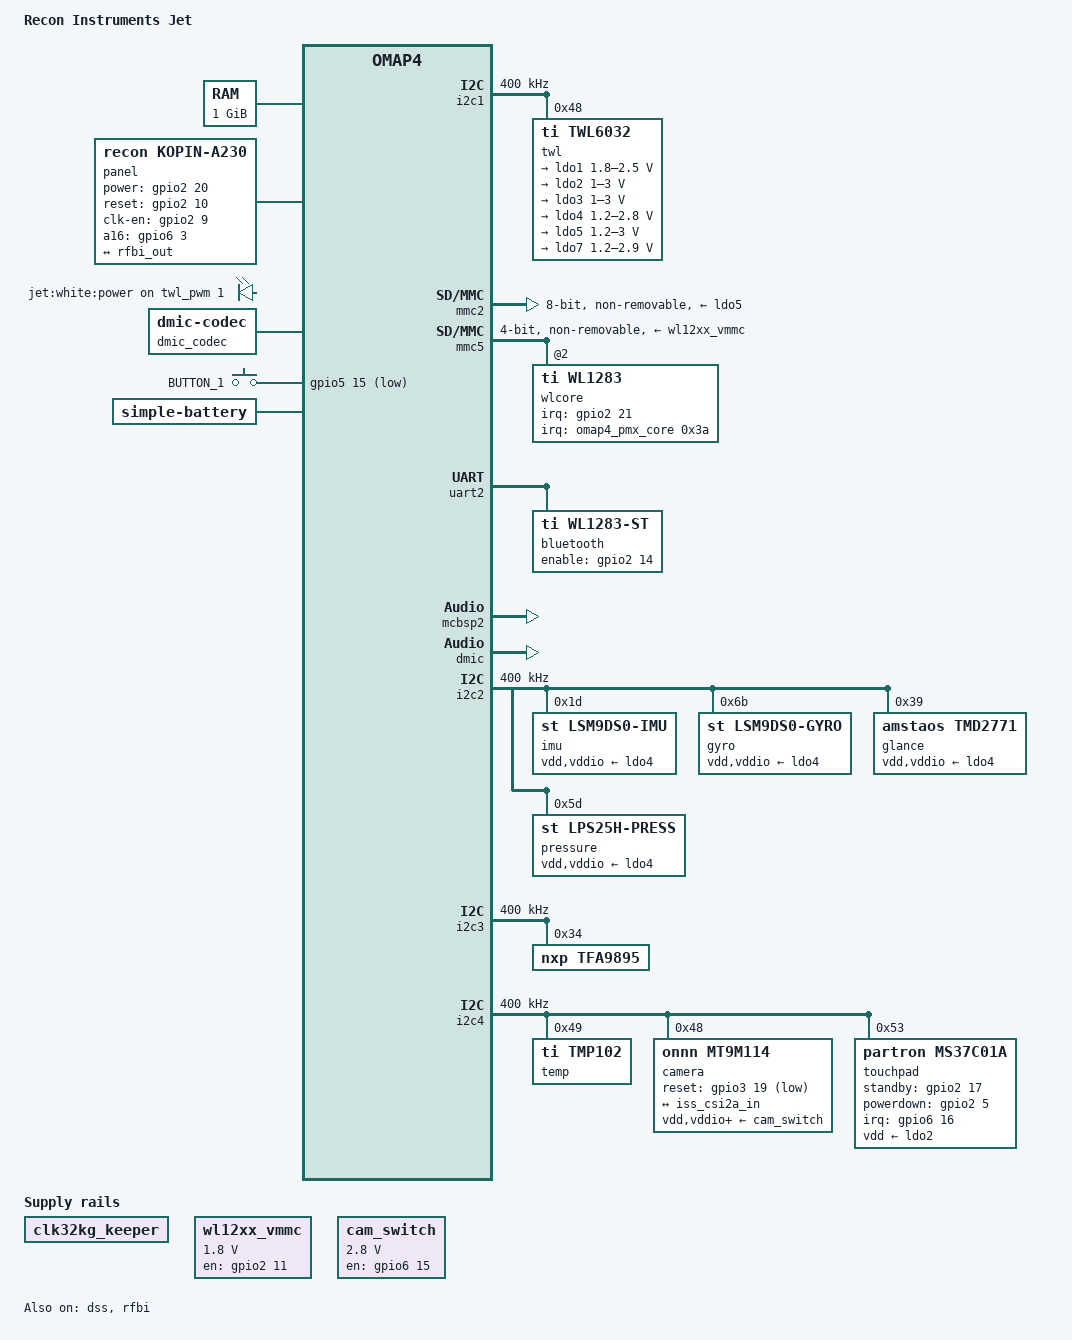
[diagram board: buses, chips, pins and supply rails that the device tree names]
// SPDX-License-Identifier: GPL-2.0-only
/*
 * Recon Instruments Jet (OMAP4430 ES2.3 GP, TWL6032) — milestone 1 device tree.
 * Wiring taken from the ReconOS 3.0 kernel board files (board-4430jet.c,
 * board-44xx-power.c) and the x-loader pinmux table. Display, camera, WiFi,
 * audio and sensors are left out on purpose for the first boot.
 */
/dts-v1/;

#include <dt-bindings/input/input.h>
#include <dt-bindings/gpio/gpio.h>
#include "omap443x.dtsi"

/ {
	model = "Recon Instruments Jet";
	compatible = "recon,jet", "ti,omap4430", "ti,omap4";

	memory@80000000 {
		device_type = "memory";
		reg = <0x80000000 0x40000000>; /* 1 GiB */
	};

	chosen {
		/* panic=5: reboot into fastboot/stock instead of hanging; early_enable: arm the
		 * hardware watchdog at driver probe so a hang before init still resets */
		bootargs = "loglevel=8 ignore_loglevel panic=5 omap_wdt.early_enable=1";
	};

	/* crash/console log that survives a reset (read back from /sys/fs/pstore) */
	reserved-memory {
		#address-cells = <1>;
		#size-cells = <1>;
		ranges;

		/* u-boot's ATAG memory ends at 0xbe2e1000 (1,018,180 kB), keep this below it */
		ramoops@bd000000 {
			compatible = "ramoops";
			reg = <0xbd000000 0x100000>;
			record-size = <0x8000>;
			console-size = <0x80000>;
			pmsg-size = <0x8000>;
			ftrace-size = <0>;
		};
	};

	/* Kopin A230 microdisplay on the RFBI (MIPI DBI) bus. GPIOs from the stock board file:
	 * power = gpio 52 (gpmc_ncs2), reset = gpio 42 (gpmc_a18), clk-en = gpio 41 (gpmc_a17),
	 * a16 = gpio 163 (usbb2_ulpitll_dat2). Pixel clock = auxclk4 (fref_clk4_out) at 36.57 MHz (256 MHz / 7, from the stock registers). */
	panel: panel {
		compatible = "recon,kopin-a230";
		pinctrl-names = "default";
		pinctrl-0 = <&kopin_gpio_pins>, <&kopin_clk_pins>;
		power-gpios = <&gpio2 20 GPIO_ACTIVE_HIGH>;
		reset-gpios = <&gpio2 10 GPIO_ACTIVE_HIGH>;
		clk-en-gpios = <&gpio2 9 GPIO_ACTIVE_HIGH>;
		a16-gpios = <&gpio6 3 GPIO_ACTIVE_HIGH>;
		/* stock: dpll_per m3x2 = 256 MHz, auxclk4 = 256/7 = 36.57 MHz. The driver sets the
		 * rate itself (assigned-clocks on these made the probe defer forever). */
		clocks = <&auxclk4_ck>, <&auxclk4_src_ck>, <&dpll_per_m3x2_ck>;
		clock-names = "pixel", "pixel_src", "per_m3";

		port {
			kopin_in: endpoint {
				remote-endpoint = <&rfbi_out>;
			};
		};
	};

	/* BUTTON_1 on the pod: uart3_rx_irrx pad as gpio_143 (gpio5 line 15), idle high,
	 * stock jet-keys reported KEY_102ND (86) on a short click */
	/* power-button LED: TWL6032 PWM2 (stock u-boot/kernel: PWM2ON 0x60, PWM2OFF 0x7f, TOGGLE3
	 * clock+signal enable). twl6030.dtsi's twl_pwm id 1 = PWM2; polarity checked by eye. */
	pwmleds {
		compatible = "pwm-leds";
		led-power {
			label = "jet:white:power";
			pwms = <&twl_pwm 1 7812500>;
			max-brightness = <127>;
			default-state = "keep";
		};
	};

	dmic_codec: dmic-codec {
		compatible = "dmic-codec";
		#sound-dai-cells = <0>;
		num-channels = <2>;
	};

	sound {
		compatible = "simple-audio-card";
		simple-audio-card,name = "Jet";
		#address-cells = <1>;
		#size-cells = <0>;
		simple-audio-card,dai-link@0 {		/* speaker: McBSP2 I2S master -> TFA9895 */
			reg = <0>;
			format = "i2s";
			bitclock-master = <&jet_cpu_dai>;
			frame-master = <&jet_cpu_dai>;
			jet_cpu_dai: cpu {
				sound-dai = <&mcbsp2>;
			};
			codec {
				sound-dai = <&tfa9895>;
			};
		};
		simple-audio-card,dai-link@1 {		/* mics: OMAP4 DMIC -> generic dmic codec */
			reg = <1>;
			cpu {
				sound-dai = <&dmic>;
			};
			codec {
				sound-dai = <&dmic_codec>;
			};
		};
	};

	gpio-keys {
		compatible = "gpio-keys";
		pinctrl-names = "default";
		pinctrl-0 = <&button_pins>;
		button-1 {
			label = "BUTTON_1";
			gpios = <&gpio5 15 GPIO_ACTIVE_LOW>;
			linux,code = <KEY_102ND>;
			debounce-interval = <50>;
			wakeup-source;
		};
	};

	/* the pack rg fitted: a generic 3.7 V 500 mAh cell on the Recon protection board */
	battery: battery {
		compatible = "simple-battery";
		device-chemistry = "lithium-ion";
		charge-full-design-microamp-hours = <500000>;
		voltage-max-design-microvolt = <4200000>;
		voltage-min-design-microvolt = <3300000>;
		constant-charge-voltage-max-microvolt = <4200000>;
		constant-charge-current-max-microamp = <400000>;
		charge-term-current-microamp = <50000>;
	};

	/* The WL1283 needs the PMIC's CLK32KG 32 kHz output (CFG_STATE 0x48:0xBE); after a real
	 * power-on it is off and SDIO init fails ("Failed to initialize a non-removable card"), every
	 * earlier run inherited Android's setting. Keep it on from boot. */
	clk32kg_keeper: regulator-clk32kg {
		compatible = "regulator-fixed-clock";
		regulator-name = "clk32kg";
		clocks = <&twl 0>;
		regulator-always-on;
		regulator-boot-on;
	};

	/* WL128x power: GPIO43 (gpmc_a19) = gpio2 line 11 */
	wl12xx_vmmc: regulator-wl12xx {
		pinctrl-names = "default";
		pinctrl-0 = <&wl12xx_gpio>;
		compatible = "regulator-fixed";
		regulator-name = "vwl1271";
		regulator-min-microvolt = <1800000>;
		regulator-max-microvolt = <1800000>;
		gpio = <&gpio2 11 GPIO_ACTIVE_HIGH>;
		startup-delay-us = <70000>;
		enable-active-high;
	};
};

&omap4_pmx_wkup {
	kopin_clk_pins: pinmux-kopin-clk-pins {
		pinctrl-single,pins = <
			OMAP4_IOPAD(0x05c, PIN_OUTPUT | MUX_MODE0)	/* fref_clk4_out (36.57 MHz to the Kopin), wkup domain */
		>;
	};
};

&omap4_pmx_core {
	wl12xx_gpio: wl12xx-gpio-pins {
		pinctrl-single,pins = <
			OMAP4_IOPAD(0x066, PIN_OUTPUT | MUX_MODE3)		/* gpmc_a19.gpio_43 - WLAN_EN */
		>;
	};

	uart2_pins: uart2-pins {		/* WL1283 BT HCI (stock: ttyO1 = uart2, 3.6864 Mbaud, flow control) */
		pinctrl-single,pins = <
			OMAP4_IOPAD(0x118, PIN_INPUT_PULLUP | MUX_MODE0)	/* uart2_cts */
			OMAP4_IOPAD(0x11a, PIN_OUTPUT | MUX_MODE0)		/* uart2_rts */
			OMAP4_IOPAD(0x11c, PIN_INPUT_PULLUP | MUX_MODE0)	/* uart2_rx */
			OMAP4_IOPAD(0x11e, PIN_OUTPUT | MUX_MODE0)		/* uart2_tx */
		>;
	};

	bt_pins: bt-pins {
		pinctrl-single,pins = <
			OMAP4_IOPAD(0x06c, PIN_OUTPUT | MUX_MODE3)		/* gpmc_a22.gpio_46 - BT_EN */
		>;
	};

	dmic_pins: dmic-pins {			/* digital mics: DMIC block clock out + din1 (stock ABE route DMic0L/R) */
		pinctrl-single,pins = <
			OMAP4_IOPAD(0x110, PIN_OUTPUT | MUX_MODE0)		/* abe_dmic_clk1 */
			OMAP4_IOPAD(0x112, PIN_INPUT | MUX_MODE0)		/* abe_dmic_din1 */
		>;
	};

	mcbsp2_pins: mcbsp2-pins {		/* I2S to the TFA9895 speaker amp (stock jet V2 mux) */
		pinctrl-single,pins = <
			OMAP4_IOPAD(0x0f6, PIN_OUTPUT | MUX_MODE0)		/* abe_mcbsp2_clkx */
			OMAP4_IOPAD(0x0f8, PIN_INPUT | MUX_MODE0)		/* abe_mcbsp2_dr */
			OMAP4_IOPAD(0x0fa, PIN_OUTPUT | MUX_MODE0)		/* abe_mcbsp2_dx */
			OMAP4_IOPAD(0x0fc, PIN_OUTPUT | MUX_MODE0)		/* abe_mcbsp2_fsx */
		>;
	};

	wl12xx_pins: wl12xx-pins {
		pinctrl-single,pins = <
			OMAP4_IOPAD(0x07a, PIN_INPUT | MUX_MODE3)		/* gpmc_ncs3.gpio_53 - WLAN_IRQ */
			OMAP4_IOPAD(0x148, PIN_INPUT_PULLUP | MUX_MODE0)	/* sdmmc5_clk */
			OMAP4_IOPAD(0x14a, PIN_INPUT_PULLUP | MUX_MODE0)	/* sdmmc5_cmd */
			OMAP4_IOPAD(0x14c, PIN_INPUT_PULLUP | MUX_MODE0)	/* sdmmc5_dat0 */
			OMAP4_IOPAD(0x14e, PIN_INPUT_PULLUP | MUX_MODE0)	/* sdmmc5_dat1 */
			OMAP4_IOPAD(0x150, PIN_INPUT_PULLUP | MUX_MODE0)	/* sdmmc5_dat2 */
			OMAP4_IOPAD(0x152, PIN_INPUT_PULLUP | MUX_MODE0)	/* sdmmc5_dat3 */
		>;
	};

	i2c1_pins: pinmux-i2c1-pins {
		pinctrl-single,pins = <
			OMAP4_IOPAD(0x122, PIN_INPUT_PULLUP | MUX_MODE0)	/* i2c1_scl */
			OMAP4_IOPAD(0x124, PIN_INPUT_PULLUP | MUX_MODE0)	/* i2c1_sda */
		>;
	};

	/* eMMC on MMC2: gpmc_ad0..7 / gpmc_noe / gpmc_nwe in mode 1 (from x-loader) */
	mmc2_pins: pinmux-mmc2-pins {
		pinctrl-single,pins = <
			OMAP4_IOPAD(0x040, PIN_INPUT_PULLUP | MUX_MODE1)	/* sdmmc2_dat0 */
			OMAP4_IOPAD(0x042, PIN_INPUT_PULLUP | MUX_MODE1)	/* sdmmc2_dat1 */
			OMAP4_IOPAD(0x044, PIN_INPUT_PULLUP | MUX_MODE1)	/* sdmmc2_dat2 */
			OMAP4_IOPAD(0x046, PIN_INPUT_PULLUP | MUX_MODE1)	/* sdmmc2_dat3 */
			OMAP4_IOPAD(0x048, PIN_INPUT_PULLUP | MUX_MODE1)	/* sdmmc2_dat4 */
			OMAP4_IOPAD(0x04a, PIN_INPUT_PULLUP | MUX_MODE1)	/* sdmmc2_dat5 */
			OMAP4_IOPAD(0x04c, PIN_INPUT_PULLUP | MUX_MODE1)	/* sdmmc2_dat6 */
			OMAP4_IOPAD(0x04e, PIN_INPUT_PULLUP | MUX_MODE1)	/* sdmmc2_dat7 */
			OMAP4_IOPAD(0x082, PIN_INPUT_PULLUP | MUX_MODE1)	/* sdmmc2_clk */
			OMAP4_IOPAD(0x084, PIN_INPUT_PULLUP | MUX_MODE1)	/* sdmmc2_cmd */
		>;
	};

	/* RFBI bus, values read back from the stock kernel's omap_mux debugfs (2026-10-17):
	 * data/control pads are bidirectional (input buffer enabled), dpm_emu6 is gpio_17 */
	rfbi_pins: pinmux-rfbi-pins {
		pinctrl-single,pins = <
			OMAP4_IOPAD(0x1b4, PIN_INPUT | MUX_MODE4)	/* dpm_emu3.rfbi_data10 */
			OMAP4_IOPAD(0x1b6, PIN_INPUT | MUX_MODE4)	/* dpm_emu4.rfbi_data9 */
			OMAP4_IOPAD(0x1b8, PIN_INPUT | MUX_MODE4)	/* dpm_emu5.rfbi_te_vsync0 */
			OMAP4_IOPAD(0x1ba, PIN_OUTPUT | MUX_MODE3)	/* dpm_emu6.gpio_17 (stock, not hsync) */
			OMAP4_IOPAD(0x1bc, PIN_INPUT | MUX_MODE4)	/* dpm_emu7.rfbi_cs0 */
			OMAP4_IOPAD(0x1be, PIN_INPUT | MUX_MODE4)	/* dpm_emu8.rfbi_re */
			OMAP4_IOPAD(0x1c0, PIN_INPUT | MUX_MODE4)	/* dpm_emu9.rfbi_we */
			OMAP4_IOPAD(0x1c2, PIN_INPUT | MUX_MODE4)	/* dpm_emu10.rfbi_a0 */
			OMAP4_IOPAD(0x1c4, PIN_INPUT | MUX_MODE4)	/* dpm_emu11.rfbi_data8 */
			OMAP4_IOPAD(0x1c6, PIN_INPUT | MUX_MODE4)	/* dpm_emu12.rfbi_data7 */
			OMAP4_IOPAD(0x1c8, PIN_INPUT | MUX_MODE4)	/* dpm_emu13.rfbi_data6 */
			OMAP4_IOPAD(0x1ca, PIN_INPUT | MUX_MODE4)	/* dpm_emu14.rfbi_data5 */
			OMAP4_IOPAD(0x1cc, PIN_INPUT | MUX_MODE4)	/* dpm_emu15.rfbi_data4 */
			OMAP4_IOPAD(0x1ce, PIN_INPUT | MUX_MODE4)	/* dpm_emu16.rfbi_data3 */
			OMAP4_IOPAD(0x1d0, PIN_INPUT | MUX_MODE4)	/* dpm_emu17.rfbi_data2 */
			OMAP4_IOPAD(0x1d2, PIN_INPUT | MUX_MODE4)	/* dpm_emu18.rfbi_data1 */
			OMAP4_IOPAD(0x1d4, PIN_INPUT | MUX_MODE4)	/* dpm_emu19.rfbi_data0 */
			OMAP4_IOPAD(0x16e, PIN_INPUT | MUX_MODE6)	/* usbb2_ulpitll_dat3.rfbi_data15 */
			OMAP4_IOPAD(0x170, PIN_INPUT | MUX_MODE6)	/* usbb2_ulpitll_dat4.rfbi_data14 */
			OMAP4_IOPAD(0x172, PIN_INPUT | MUX_MODE6)	/* usbb2_ulpitll_dat5.rfbi_data13 */
			OMAP4_IOPAD(0x174, PIN_INPUT | MUX_MODE6)	/* usbb2_ulpitll_dat6.rfbi_data12 */
			OMAP4_IOPAD(0x176, PIN_INPUT | MUX_MODE6)	/* usbb2_ulpitll_dat7.rfbi_data11 */
		>;
	};

	kopin_gpio_pins: pinmux-kopin-gpio-pins {
		pinctrl-single,pins = <
			OMAP4_IOPAD(0x062, PIN_OUTPUT | MUX_MODE3)	/* gpmc_a17.gpio_41 CLK_TV_EN */
			OMAP4_IOPAD(0x064, PIN_OUTPUT | MUX_MODE3)	/* gpmc_a18.gpio_42 DISP_RES */
			OMAP4_IOPAD(0x078, PIN_OUTPUT | MUX_MODE3)	/* gpmc_ncs2.gpio_52 POWER_ENABLE */
			OMAP4_IOPAD(0x16c, PIN_OUTPUT | MUX_MODE3)	/* usbb2_ulpitll_dat2.gpio_163 RFBI_A16 */
		>;
	};

	button_pins: pinmux-button-pins {
		pinctrl-single,pins = <
			OMAP4_IOPAD(0x144, PIN_INPUT_PULLUP | MUX_MODE3)	/* uart3_rx_irrx.gpio_143 BUTTON_1 */
		>;
	};

	i2c2_pins: pinmux-i2c2-pins {
		pinctrl-single,pins = <
			OMAP4_IOPAD(0x126, PIN_INPUT_PULLUP | MUX_MODE0)	/* i2c2_scl */
			OMAP4_IOPAD(0x128, PIN_INPUT_PULLUP | MUX_MODE0)	/* i2c2_sda */
		>;
	};

	i2c3_pins: pinmux-i2c3-pins {
		pinctrl-single,pins = <
			OMAP4_IOPAD(0x12a, PIN_INPUT_PULLUP | MUX_MODE0)	/* i2c3_scl */
			OMAP4_IOPAD(0x12c, PIN_INPUT_PULLUP | MUX_MODE0)	/* i2c3_sda */
		>;
	};

	/* Partron OFM touchpad: MOTION gpio_176 (kpd_row4), STANDBY gpio_49 (gpmc_a25), POWERDOWN gpio_37 (gpmc_ad13) */
	ofm_pins: pinmux-ofm-pins {
		pinctrl-single,pins = <
			OMAP4_IOPAD(0x18a, PIN_INPUT_PULLDOWN | MUX_MODE3)	/* kpd_row4.gpio_176 MOTION */
			OMAP4_IOPAD(0x072, PIN_OUTPUT | MUX_MODE3)		/* gpmc_a25.gpio_49 STANDBY */
			OMAP4_IOPAD(0x05a, PIN_OUTPUT | MUX_MODE3)		/* gpmc_ad13.gpio_37 POWERDOWN */
		>;
	};

	/* camera: MT9M114 on CSI-2 port A (csi21 dx0/dy0 = clock, dx1/dy1 = data 1), MCLK on fref_clk1_out.
	 * Pull-ups on the lanes so an unpowered sensor reads as LP-11 (the CSI-2 complex IO reset needs it;
	 * the bootloader had them on dx2/dy2).
	 * reset gpio_83 (cam_globalreset pad), power switch gpio_175 (kpd_row3) */
	cam_pins: pinmux-cam-pins {
		pinctrl-single,pins = <
			OMAP4_IOPAD(0x0a0, PIN_INPUT_PULLUP | MUX_MODE0)	/* csi21_dx0 */
			OMAP4_IOPAD(0x0a2, PIN_INPUT_PULLUP | MUX_MODE0)	/* csi21_dy0 */
			OMAP4_IOPAD(0x0a4, PIN_INPUT_PULLUP | MUX_MODE0)	/* csi21_dx1 */
			OMAP4_IOPAD(0x0a6, PIN_INPUT_PULLUP | MUX_MODE0)	/* csi21_dy1 */
			OMAP4_IOPAD(0x0a8, PIN_INPUT_PULLUP | MUX_MODE0)	/* csi21_dx2 (bootloader had these two muxed, so the module may use them) */
			OMAP4_IOPAD(0x0aa, PIN_INPUT_PULLUP | MUX_MODE0)	/* csi21_dy2 */
			OMAP4_IOPAD(0x0c0, PIN_OUTPUT | MUX_MODE3)	/* cam_globalreset.gpio_83 */
			OMAP4_IOPAD(0x19a, PIN_OUTPUT | MUX_MODE0)	/* fref_clk1_out (camera MCLK) */
			OMAP4_IOPAD(0x188, PIN_OUTPUT | MUX_MODE3)	/* kpd_row3.gpio_175 SW_CAM_ON */
		>;
	};

	i2c4_pins: pinmux-i2c4-pins {
		pinctrl-single,pins = <
			OMAP4_IOPAD(0x12e, PIN_INPUT_PULLUP | MUX_MODE0)	/* i2c4_scl */
			OMAP4_IOPAD(0x130, PIN_INPUT_PULLUP | MUX_MODE0)	/* i2c4_sda */
		>;
	};

	usb_otg_hs_pins: pinmux-usb-otg-hs-pins {
		pinctrl-single,pins = <
			OMAP4_IOPAD(0x194, PIN_OUTPUT_PULLDOWN | MUX_MODE0)	/* usba0_otg_ce */
			OMAP4_IOPAD(0x196, PIN_INPUT | MUX_MODE0)		/* usba0_otg_dp */
			OMAP4_IOPAD(0x198, PIN_INPUT | MUX_MODE0)		/* usba0_otg_dm */
		>;
	};
};

&i2c1 {
	pinctrl-names = "default";
	pinctrl-0 = <&i2c1_pins>;
	clock-frequency = <400000>;

	twl: pmic@48 {
		compatible = "ti,twl6032";
		reg = <0x48>;
		#clock-cells = <1>;
		interrupts = <GIC_SPI 7 IRQ_TYPE_LEVEL_HIGH>; /* IRQ_SYS_1N cascaded to gic */
		interrupt-controller;
		#interrupt-cells = <1>;
		system-power-controller;

		/* rear pod button = PMIC PWRON: short press is the BACK/UP nav key in the stock UI
		 * (reported as KEY_END 107 there), long press is power. kernel/patches adds 6030 support. */
		pwrbutton {
			compatible = "ti,twl4030-pwrbutton";
			interrupts = <0>;
			linux,code = <KEY_END>;
		};

		charger {
			compatible = "ti,twl6032-charger", "ti,twl6030-charger";
			interrupts = <2>, <5>;
			io-channels = <&gpadc 10>;
			io-channel-names = "vusb";
			monitored-battery = <&battery>;
		};

		rtc {
			compatible = "ti,twl4030-rtc";
			interrupts = <11>;
		};

		/* names follow the ReconOS board file: ldo1=vpp ldo2=vaux1 ldo3=vaux3 ldo4=vaux2
		 * ldo5=vmmc(eMMC) ldo6=vcxio ldo7=vusim ldoln=vdac ldousb=vusb */
		ldo1: regulator-ldo1 {
			compatible = "ti,twl6032-ldo1";
			regulator-min-microvolt = <1800000>;
			regulator-max-microvolt = <2500000>;
		};

		ldo2: regulator-ldo2 {
			compatible = "ti,twl6032-ldo2";
			regulator-always-on;
			regulator-boot-on;
			regulator-min-microvolt = <1000000>;
			regulator-max-microvolt = <3000000>;
		};

		ldo3: regulator-ldo3 {
			compatible = "ti,twl6032-ldo3";
			regulator-always-on;
			regulator-boot-on;
			regulator-min-microvolt = <1000000>;
			regulator-max-microvolt = <3000000>;
		};

		ldo4: regulator-ldo4 {
			compatible = "ti,twl6032-ldo4";
			regulator-always-on;
			regulator-boot-on;
			regulator-min-microvolt = <1200000>;
			regulator-max-microvolt = <2800000>;
		};

		ldo5: regulator-ldo5 {
			compatible = "ti,twl6032-ldo5";
			regulator-min-microvolt = <1200000>;
			regulator-max-microvolt = <3000000>;
			regulator-always-on;	/* eMMC */
			ti,retain-on-reset;
		};

		ldo6: regulator-ldo6 {
			compatible = "ti,twl6032-ldo6";
			regulator-always-on;
		};

		ldo7: regulator-ldo7 {
			compatible = "ti,twl6032-ldo7";
			regulator-min-microvolt = <1200000>;
			regulator-max-microvolt = <2900000>;
		};

		ldoln: regulator-ldoln {
			compatible = "ti,twl6032-ldoln";
			regulator-always-on;
		};

		ldousb: regulator-ldousb {
			compatible = "ti,twl6032-ldousb";
			regulator-always-on;
		};

		vio: regulator-vio {
			compatible = "ti,twl6032-vio";
			regulator-always-on;
		};

		twl_usb_comparator: usb-comparator {
			compatible = "ti,twl6030-usb";
			interrupts = <4>, <10>;
		};

		twl_pwm: pwm {
			compatible = "ti,twl6030-pwm";
			#pwm-cells = <2>;
		};

		twl_pwmled: pwmled {
			compatible = "ti,twl6030-pwmled";
			#pwm-cells = <2>;
		};

		gpadc: gpadc {
			compatible = "ti,twl6032-gpadc";
			interrupts = <3>;
			#io-channel-cells = <1>;
		};
	};
};

#include "twl6030_omap4.dtsi"

&twl_usb_comparator {
	usb-supply = <&ldousb>;
};

&mmc1 {
	status = "disabled";	/* sdmmc1 pads are in safe mode on the Jet */
};

&mmc2 {
	pinctrl-names = "default";
	pinctrl-0 = <&mmc2_pins>;
	vmmc-supply = <&ldo5>;
	bus-width = <8>;
	non-removable;
	no-sd;
	no-sdio;
};

&mmc3 {
	status = "disabled";
};

&mmc4 {
	status = "disabled";
};

&mmc5 {
	/* WL128x SDIO. Stock board file: ref clock 26 MHz, tcxo 26 MHz, IRQ gpio_53, EN gpio_43 */
	pinctrl-names = "default";
	pinctrl-0 = <&wl12xx_pins>;
	vmmc-supply = <&wl12xx_vmmc>;
	interrupts-extended = <&wakeupgen GIC_SPI 59 IRQ_TYPE_LEVEL_HIGH
			       &omap4_pmx_core 0x10e>;
	non-removable;
	bus-width = <4>;
	cap-power-off-card;
	status = "okay";

	#address-cells = <1>;
	#size-cells = <0>;
	wlcore: wlcore@2 {
		compatible = "ti,wl1283";
		reg = <2>;
		interrupts-extended = <&gpio2 21 IRQ_TYPE_LEVEL_HIGH>,
				      <&omap4_pmx_core 0x3a>;
		interrupt-names = "irq", "wakeup";
		ref-clock-frequency = <26000000>;
		tcxo-clock-frequency = <26000000>;
	};
};

&uart2 {
	pinctrl-names = "default";
	pinctrl-0 = <&uart2_pins>;
	interrupts-extended = <&wakeupgen GIC_SPI 73 IRQ_TYPE_LEVEL_HIGH
			       &omap4_pmx_core OMAP4_UART2_RX>;

	bluetooth {
		compatible = "ti,wl1283-st";
		pinctrl-names = "default";
		pinctrl-0 = <&bt_pins>;
		enable-gpios = <&gpio2 14 GPIO_ACTIVE_HIGH>;	/* GPIO_46 */
		clocks = <&twl 0>;
		clock-names = "ext_clock";
	};
};

&mcbsp2 {
	pinctrl-names = "default";
	pinctrl-0 = <&mcbsp2_pins>;
	#sound-dai-cells = <0>;
	status = "okay";
};

/* stock during tinycap: DMIC clkctrl 0x01000002 (fclk = pad_clks, i.e. fref_clk2_out 19.2 MHz looped
 * back on the abe_clks pad), mic clock generated by the DMIC block. Mainline just uses the block's own
 * fclk (abe_24m / sys clk, same crystal); no AUXCLK2 needed. */
&dmic {
	pinctrl-names = "default";
	pinctrl-0 = <&dmic_pins>;
	#sound-dai-cells = <0>;
	status = "okay";
};

&uart3 {
	status = "disabled";	/* uart3_rx pad is BUTTON_1; no console wired out */
};

/* sensor buses (stock board-jet-sensors.c): i2c2 = LSM9DS0 (0x1d or 0x1e / gyro 0x6a or 0x6b
 * depending on the board revision) + LPS25H 0x5d + APDS9900 0x39 (no mainline driver);
 * i2c3 = MFi 0x11 + TFA98xx amp 0x34; i2c4 = TMP102 0x49 + Partron OFM touchpad 0x53 + MT9M114 0x48 */
&i2c2 {
	pinctrl-names = "default";
	pinctrl-0 = <&i2c2_pins>;
	clock-frequency = <400000>;
	status = "okay";

	/* probed 2026-10-17: accel/mag at 0x1d, gyro at 0x6b (so this is a JET_V2 board) */
	imu@1d {
		compatible = "st,lsm9ds0-imu";
		reg = <0x1d>;
		vdd-supply = <&ldo4>;
		vddio-supply = <&ldo4>;
	};
	gyro@6b {
		compatible = "st,lsm9ds0-gyro";
		reg = <0x6b>;
		vdd-supply = <&ldo4>;
		vddio-supply = <&ldo4>;
	};

	/* glance sensor: Avago APDS9900 ALS+proximity (ID 0x29). Mainline's tsl2772 driver accepts it
	 * as a tmd2771 (same register family, 0x2x ID); IIO in_proximity0_raw ~800 idle. Stock wired its
	 * INT to gpio 56; polled for now. */
	glance: proximity@39 {
		compatible = "amstaos,tmd2771";
		reg = <0x39>;
		led-max-microamp = <25000>;	/* 100 mA default saturated (1023) looking away; less IR, less glare */
		vdd-supply = <&ldo4>;
		vddio-supply = <&ldo4>;
	};
	pressure@5d {
		compatible = "st,lps25h-press";
		reg = <0x5d>;
		vdd-supply = <&ldo4>;
		vddio-supply = <&ldo4>;
	};
};

&i2c3 {
	pinctrl-names = "default";
	pinctrl-0 = <&i2c3_pins>;
	clock-frequency = <400000>;
	status = "okay";

	/* speaker amp: NXP TFA9895 (revision reg 0x03 = 0x12). Mainline tfa989x drives it as a plain
	 * I2S codec without the DSP tuning Android loaded with NXP's climax tool. */
	tfa9895: amplifier@34 {
		compatible = "nxp,tfa9895";
		reg = <0x34>;
		#sound-dai-cells = <0>;
	};
};

/ {
	cam_switch: regulator-cam-switch {
		compatible = "regulator-fixed";
		regulator-name = "cam_switch";
		regulator-min-microvolt = <2800000>;
		regulator-max-microvolt = <2800000>;
		gpio = <&gpio6 15 GPIO_ACTIVE_HIGH>;	/* gpio_175 SW_CAM_ON */
		enable-active-high;
		startup-delay-us = <10000>;
	};
};

&i2c4 {
	pinctrl-names = "default";
	pinctrl-0 = <&i2c4_pins>;
	clock-frequency = <400000>;
	status = "okay";

	temp@49 {
		compatible = "ti,tmp102";
		reg = <0x49>;
	};

	camera@48 {
		compatible = "onnn,mt9m114";
		reg = <0x48>;
		pinctrl-names = "default";
		pinctrl-0 = <&cam_pins>;
		clocks = <&auxclk1_ck>;
		/* EXTCLK 19.2 MHz = sys_clkin / 2 (the bootloader left auxclk1 on dpll_per_m3x2 / 8 = 32 MHz);
		 * with the sensor PLL (m32 n1 p7) pixrate = 2 x EXTCLK = 38.4 MHz, CSI-2 link = pixrate x 8 */
		assigned-clocks = <&auxclk1_src_ck>, <&auxclk1_ck>;
		assigned-clock-parents = <&sys_clkin_ck>;
		assigned-clock-rates = <0>, <19200000>;
		reset-gpios = <&gpio3 19 GPIO_ACTIVE_LOW>;	/* gpio_83 cam_globalreset */
		vdd-supply = <&cam_switch>;
		vddio-supply = <&cam_switch>;
		vaa-supply = <&cam_switch>;

		port {
			cam_out: endpoint {
				remote-endpoint = <&iss_csi2a_in>;
				bus-type = <4>;		/* MIPI CSI-2 D-PHY */
				clock-lanes = <1>;
				data-lanes = <2>;
				link-frequencies = /bits/ 64 <307200000>;	/* 19.2 MHz EXTCLK, PLL on: pixrate 38.4 MHz x 8 */
			};
		};
	};

	touchpad@53 {
		compatible = "partron,ms37c01a";
		reg = <0x53>;
		pinctrl-names = "default";
		pinctrl-0 = <&ofm_pins>;
		interrupts-extended = <&gpio6 16 IRQ_TYPE_LEVEL_HIGH>;
		standby-gpios = <&gpio2 17 GPIO_ACTIVE_HIGH>;
		powerdown-gpios = <&gpio2 5 GPIO_ACTIVE_HIGH>;
		vdd-supply = <&ldo2>;
	};
};

&usb_otg_hs {
	pinctrl-names = "default";
	pinctrl-0 = <&usb_otg_hs_pins>;
	interface-type = <1>;
	mode = <3>;
	power = <50>;
};

&usbhshost {
	status = "disabled";
};

&dss {
	status = "okay";
};

&rfbi {
	compatible = "ti,omap4-rfbi";
	status = "okay";
	pinctrl-names = "default";
	pinctrl-0 = <&rfbi_pins>;

	port {
		rfbi_out: endpoint {
			remote-endpoint = <&kopin_in>;
		};
	};
};

/* OMAP4 ISS (camera subsystem): child of omap4.dtsi's target-module@52000000, driver in
 * kernel/overlay/drivers/media/platform/ti/omap4iss (resurrected from v6.6 staging + DT glue).
 * Register blocks in the driver's enum order; CONTROL_CAMERA_RX is syscon offset 0x68. */
&{/ocp/target-module@52000000} {
	iss: iss@0 {
		compatible = "ti,omap4-iss";
		reg = <0x00000 0x100>,
		      <0x01000 0x170>,
		      <0x01170 0x020>,
		      <0x01400 0x170>,
		      <0x01570 0x020>,
		      <0x02000 0x0a0>,
		      <0x10000 0x0a0>,
		      <0x10400 0x400>,
		      <0x10800 0x800>,
		      <0x11000 0x200>,
		      <0x11200 0x200>;
		reg-names = "top", "csi2_a_regs1", "camerarx_core1", "csi2_b_regs1", "camerarx_core2",
			    "bte", "isp_sys1", "isp_resizer", "isp_ipipe", "isp_isif", "isp_ipipeif";
		interrupts = <GIC_SPI 24 IRQ_TYPE_LEVEL_HIGH>;
		clocks = <&iss_clkctrl OMAP4_ISS_CLKCTRL 0>, <&iss_clkctrl OMAP4_ISS_CLKCTRL 8>;
		clock-names = "iss_fck", "iss_ctrlclk";
		syscon = <&omap4_padconf_global>;

		ports {
			#address-cells = <1>;
			#size-cells = <0>;

			port@0 {
				reg = <0>;
				iss_csi2a_in: endpoint {
					remote-endpoint = <&cam_out>;
					clock-lanes = <1>;
					data-lanes = <2>;
				};
			};
		};
	};
};
